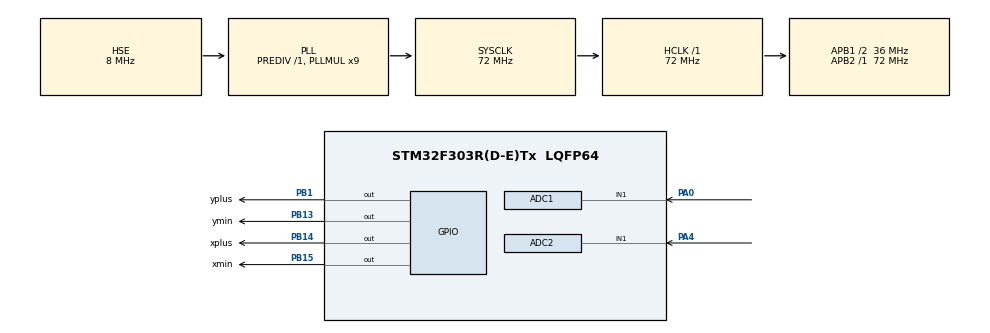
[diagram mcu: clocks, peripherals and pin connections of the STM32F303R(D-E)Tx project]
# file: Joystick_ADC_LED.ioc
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ADC1.Channel-10\#ChannelRegularConversion=ADC_CHANNEL_1
ADC1.NbrOfConversionFlag=1
ADC1.Offset-10\#ChannelRegularConversion=0
ADC1.OffsetNumber-10\#ChannelRegularConversion=ADC_OFFSET_NONE
ADC1.Rank-10\#ChannelRegularConversion=1
ADC1.SamplingTime-10\#ChannelRegularConversion=ADC_SAMPLETIME_1CYCLE_5
ADC1.master=1
ADC2.Channel-0\#ChannelRegularConversion=ADC_CHANNEL_1
ADC2.NbrOfConversionFlag=1
ADC2.Offset-0\#ChannelRegularConversion=0
ADC2.OffsetNumber-0\#ChannelRegularConversion=ADC_OFFSET_NONE
ADC2.Rank-0\#ChannelRegularConversion=1
ADC2.SamplingTime-0\#ChannelRegularConversion=ADC_SAMPLETIME_1CYCLE_5
Dma.ADC1.0.Direction=DMA_PERIPH_TO_MEMORY
Dma.ADC1.0.Instance=DMA1_Channel1
Dma.ADC1.0.MemDataAlignment=DMA_MDATAALIGN_HALFWORD
Dma.ADC1.0.MemInc=DMA_MINC_ENABLE
Dma.ADC1.0.Mode=DMA_NORMAL
Dma.ADC1.0.PeriphDataAlignment=DMA_PDATAALIGN_HALFWORD
Dma.ADC1.0.PeriphInc=DMA_PINC_DISABLE
Dma.ADC1.0.Priority=DMA_PRIORITY_LOW
Dma.ADC2.1.Direction=DMA_PERIPH_TO_MEMORY
Dma.ADC2.1.Instance=DMA2_Channel1
Dma.ADC2.1.MemDataAlignment=DMA_MDATAALIGN_HALFWORD
Dma.ADC2.1.MemInc=DMA_MINC_ENABLE
Dma.ADC2.1.Mode=DMA_NORMAL
Dma.ADC2.1.PeriphDataAlignment=DMA_PDATAALIGN_HALFWORD
Dma.ADC2.1.PeriphInc=DMA_PINC_DISABLE
Dma.ADC2.1.Priority=DMA_PRIORITY_LOW
Dma.Request0=ADC1
Dma.Request1=ADC2
Mcu.Family=STM32F3
Mcu.Name=STM32F303R(D-E)Tx
Mcu.Package=LQFP64
NVIC.DMA1_Channel1_IRQn=true\:0\:0\:false\:false\:true\:false\:true
NVIC.DMA2_Channel1_IRQn=true\:0\:0\:false\:false\:true\:false\:true
NVIC.PriorityGroup=NVIC_PRIORITYGROUP_4
PA0.Mode=IN1-Single-Ended
PA0.Signal=ADC1_IN1
PA13.Mode=Serial_Wire
PA13.Signal=SYS_JTMS-SWDIO
PA14.Mode=Serial_Wire
PA14.Signal=SYS_JTCK-SWCLK
PA4.Mode=IN1-Single-Ended
PA4.Signal=ADC2_IN1
PB1.GPIO_Label=yplus
PB1.Signal=GPIO_Output
PB13.GPIO_Label=ymin
PB13.Signal=GPIO_Output
PB14.GPIO_Label=xplus
PB14.Signal=GPIO_Output
PB15.GPIO_Label=xmin
PB15.Signal=GPIO_Output
PF0-OSC_IN.Mode=HSE-External-Oscillator
PF0-OSC_IN.Signal=RCC_OSC_IN
PF1-OSC_OUT.Mode=HSE-External-Oscillator
PF1-OSC_OUT.Signal=RCC_OSC_OUT
ProjectManager.HeapSize=0x200
ProjectManager.StackSize=0x400
ProjectManager.TargetToolchain=MDK-ARM V5.27
RCC.AHBFreq_Value=72000000
RCC.APB1CLKDivider=RCC_HCLK_DIV2
RCC.APB1Freq_Value=36000000
RCC.APB1TimFreq_Value=72000000
RCC.APB2Freq_Value=72000000
RCC.APB2TimFreq_Value=72000000
RCC.CortexFreq_Value=72000000
RCC.HCLKFreq_Value=72000000
RCC.HSE_VALUE=8000000
RCC.HSI_VALUE=8000000
RCC.LSE_VALUE=32768
RCC.PLLMUL=RCC_PLL_MUL9
RCC.PLLSourceVirtual=RCC_PLLSOURCE_HSE
RCC.SYSCLKFreq_VALUE=72000000
RCC.SYSCLKSourceVirtual=RCC_SYSCLKSOURCE_PLLCLK
RCC.USBFreq_Value=72000000
board=custom

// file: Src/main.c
/* USER CODE BEGIN Header */
/**
  ******************************************************************************
  * @file           : main.c
  * @brief          : Main program body
  ******************************************************************************
  * @attention
  *
  * <h2><center>&copy; Copyright (c) 2020 STMicroelectronics.
  * All rights reserved.</center></h2>
  *
  * This software component is licensed by ST under BSD 3-Clause license,
  * the "License"; You may not use this file except in compliance with the
  * License. You may obtain a copy of the License at:
  *                        opensource.org/licenses/BSD-3-Clause
  *
  ******************************************************************************
  */
/* USER CODE END Header */

#include "main.h"
#include "adc.h"
#include "dma.h"
#include "gpio.h"

void SystemClock_Config(void);

/* USER CODE BEGIN 0 */

uint32_t URX[1];
uint32_t URY[1];

/* USER CODE END 0 */

int main(void)
{

  /* MCU Configuration--------------------------------------------------------*/

  /* Reset of all peripherals, Initializes the Flash interface and the Systick. */
  HAL_Init();

  /* Configure the system clock */
  SystemClock_Config();

  /* Initialize all configured peripherals */
  MX_GPIO_Init();
  MX_DMA_Init();
  MX_ADC1_Init();
  MX_ADC2_Init();

  /* Infinite loop */
  while (1)
  {

    /* USER CODE BEGIN 3 */
		HAL_ADC_Start_DMA(&hadc1, URX, 1);
		HAL_ADC_Start_DMA(&hadc2, URY, 1);

		if ((URX[0]>=2000) && (URX[0]<=3000))
 {
  HAL_GPIO_WritePin(xmin_GPIO_Port, xmin_Pin, GPIO_PIN_RESET);
  HAL_GPIO_WritePin(xplus_GPIO_Port, xplus_Pin, GPIO_PIN_RESET);
 }

 if ((URY[0]>=2000) && (URY[0]<=3000))
 {
  HAL_GPIO_WritePin(ymin_GPIO_Port, ymin_Pin, GPIO_PIN_RESET);
  HAL_GPIO_WritePin(yplus_GPIO_Port, yplus_Pin, GPIO_PIN_RESET);
 }

 if ((URX[0]>=4000))
 {
  HAL_GPIO_WritePin(xmin_GPIO_Port, xmin_Pin, GPIO_PIN_RESET);
  HAL_GPIO_WritePin(xplus_GPIO_Port, xplus_Pin, GPIO_PIN_SET);
 }

 if ((URX[0]<=800))
 {
  HAL_GPIO_WritePin(xmin_GPIO_Port, xmin_Pin, GPIO_PIN_SET);
  HAL_GPIO_WritePin(xplus_GPIO_Port, xplus_Pin, GPIO_PIN_RESET);
 }

 if ((URY[0]>=4000))
 {
  HAL_GPIO_WritePin(ymin_GPIO_Port, ymin_Pin, GPIO_PIN_RESET);
  HAL_GPIO_WritePin(yplus_GPIO_Port, yplus_Pin, GPIO_PIN_SET);
 }

 if ((URY[0]<=800))
 {
  HAL_GPIO_WritePin(ymin_GPIO_Port, ymin_Pin, GPIO_PIN_SET);
  HAL_GPIO_WritePin(yplus_GPIO_Port, yplus_Pin, GPIO_PIN_RESET);
 }
  }
  /* USER CODE END 3 */
}

void SystemClock_Config(void)
{
  RCC_OscInitTypeDef RCC_OscInitStruct = {0};
  RCC_ClkInitTypeDef RCC_ClkInitStruct = {0};
  RCC_PeriphCLKInitTypeDef PeriphClkInit = {0};

  /** Initializes the CPU, AHB and APB busses clocks
  */
  RCC_OscInitStruct.OscillatorType = RCC_OSCILLATORTYPE_HSE;
  RCC_OscInitStruct.HSEState = RCC_HSE_ON;
  RCC_OscInitStruct.HSIState = RCC_HSI_ON;
  RCC_OscInitStruct.PLL.PLLState = RCC_PLL_ON;
  RCC_OscInitStruct.PLL.PLLSource = RCC_PLLSOURCE_HSE;
  RCC_OscInitStruct.PLL.PLLMUL = RCC_PLL_MUL9;
  RCC_OscInitStruct.PLL.PREDIV = RCC_PREDIV_DIV1;
  if (HAL_RCC_OscConfig(&RCC_OscInitStruct) != HAL_OK)
  {
    Error_Handler();
  }
  /** Initializes the CPU, AHB and APB busses clocks
  */
  RCC_ClkInitStruct.ClockType = RCC_CLOCKTYPE_HCLK|RCC_CLOCKTYPE_SYSCLK
                              |RCC_CLOCKTYPE_PCLK1|RCC_CLOCKTYPE_PCLK2;
  RCC_ClkInitStruct.SYSCLKSource = RCC_SYSCLKSOURCE_PLLCLK;
  RCC_ClkInitStruct.AHBCLKDivider = RCC_SYSCLK_DIV1;
  RCC_ClkInitStruct.APB1CLKDivider = RCC_HCLK_DIV2;
  RCC_ClkInitStruct.APB2CLKDivider = RCC_HCLK_DIV1;

  if (HAL_RCC_ClockConfig(&RCC_ClkInitStruct, FLASH_LATENCY_2) != HAL_OK)
  {
    Error_Handler();
  }
  PeriphClkInit.PeriphClockSelection = RCC_PERIPHCLK_ADC12;
  PeriphClkInit.Adc12ClockSelection = RCC_ADC12PLLCLK_DIV1;
  if (HAL_RCCEx_PeriphCLKConfig(&PeriphClkInit) != HAL_OK)
  {
    Error_Handler();
  }
}

void Error_Handler(void)
{
}

/************************ (C) COPYRIGHT STMicroelectronics *****END OF FILE****/
